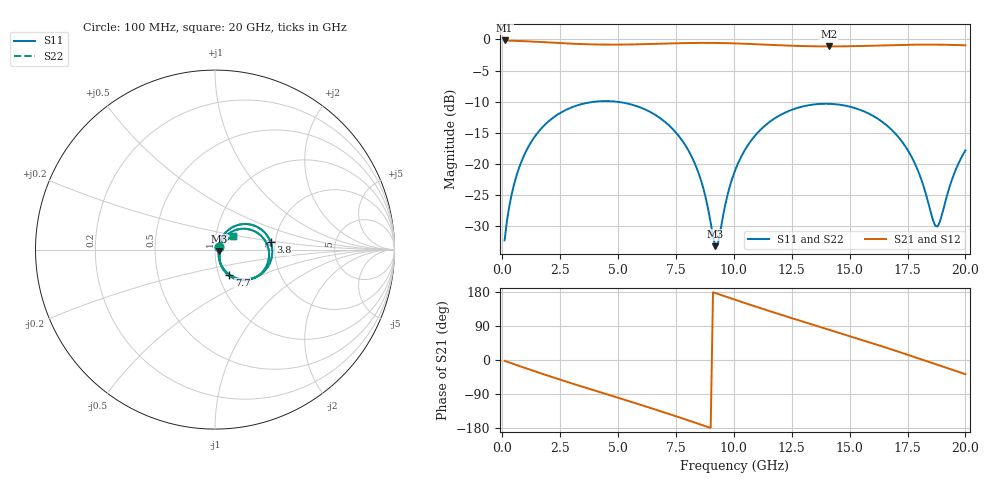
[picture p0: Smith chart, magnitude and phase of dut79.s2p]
! Touchstone file exported from HFSS 2026.1.0
!  File:  C:/ffzhzh/LocalFiles/Ansys_Project_Files/temp_train_TSV_RDL_79_1782971182_15332.aedt
!  Generated:  02:02:39 PM Jul  2, 2026
!  Design:  TSV_RDL
!  Project:  temp_train_TSV_RDL_79_1782971182_15332
! Variables:
!  h_bsmrdl = 5.42um
!  h_ox = 20um
!  h_rdl = 5um
!  h_sub = 85.78um
!  h_tmrdl = 5.96um
!  h_tsv = 85.78um
!  h_via = 3um
!  l_bsmrdl = 988.29um
!  l_sub = 6843.01um
!  l_tmrdl = 827.88um
!  m_sub = 200um
!  pitch = 41.68um
!  r_tsv = 4.52um
!  s_tmrdl = 10um
!  w_bsmrdl = 26.29um
!  w_sub = 500um
!  w_tmrdl = 29.25um
!  x_tsv_center1 = 842.505um
!  x_tsv_center2 = 1857.085um
!  x_tsv_center3 = 2714.215um
!  x_tsv_center4 = 3728.795um
!  x_tsv_center5 = 4585.925um
!  x_tsv_center6 = 5600.505um
# GHz S MA R 50.000000
! Terminal data exported
! Port[1] = TM_RDL1_1_T1
! Port[2] = TM_RDL5_1_T1
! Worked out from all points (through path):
!   200 points, 100 MHz to 20 GHz, reference 50 ohm
!   highest |S21| = -0.17 dB at 100 MHz (marker M1); lowest = -1.1 dB at 14.1 GHz (marker M2)
!   group delay of S21, straight-line fit = 54.8 ps
!   lowest |S11| = -33.2 dB at 9.2 GHz (marker M3), VSWR 1.04, Z = 52.1 - j0.73 ohm
!   |S11| at or under -10 dB: start of sweep to 4.02 GHz; 4.911 GHz to end of sweep
!   |S22| runs from -33.2 to -9.9 dB; largest |S21 - S12| = 1.6e-14
!   S11 on the Smith chart (normalised r, x): 100 MHz: 1.04, +0.03; 3.8 GHz: 1.89, +0.18; 7.7 GHz: 1.12, -0.32; 20 GHz: 1.21, +0.19
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0.1  0.02428 35.7  0.9807 -2.3  0.9807 -2.3  0.02428 35.7
! Gamma 0 0 0 0
! Port Impedance 50 0 50 0
0.5  0.0675 59.0  0.9746 -10.9  0.9746 -10.9  0.0675 59.0
1.2  0.1448 54.0  0.9633 -25.6  0.9633 -25.6  0.1448 54.0
2.2  0.2353 36.8  0.9408 -46.0  0.9408 -46.0  0.2353 36.8
3.5  0.3044 13.2  0.9162 -71.2  0.9162 -71.2  0.3044 13.2
3.8  0.3123 7.8  0.9127 -76.9  0.9127 -76.9  0.3123 7.8
5.3  0.3083 -18.8  0.9093 -105.3  0.9093 -105.3  0.3083 -18.8
6.8  0.2343 -45.3  0.9234 -134.4  0.9234 -134.4  0.2342 -45.3
7.7  0.1602 -60.2  0.933 -152.5  0.933 -152.5  0.1602 -60.2
8.6  0.07185 -68.2  0.9377 -171.0  0.9377 -171.0  0.07183 -68.3
9.2  0.02181 -18.7  0.9366 176.6  0.9366 176.6  0.02176 -18.7
9.3  0.02236 7.5  0.936 174.5  0.936 174.5  0.02232 7.6
9.7  0.05364 49.1  0.9328 166.2  0.9328 166.2  0.05364 49.2
10.1  0.09299 51.5  0.9282 158.0  0.9282 158.0  0.093 51.5
11.4  0.2069 34.0  0.9071 131.9  0.9071 131.9  0.207 34.0
13.4  0.2991 -0.3  0.8807 93.5  0.8807 93.5  0.2992 -0.3
14.1  0.3038 -12.3  0.8783 80.3  0.8783 80.3  0.3038 -12.3
15.4  0.2739 -34.6  0.8844 55.6  0.8844 55.6  0.2739 -34.6
16.7  0.1967 -55.9  0.8981 30.1  0.8981 30.1  0.1967 -55.9
17.8  0.1023 -68.4  0.9072 7.8  0.9072 7.8  0.1023 -68.4
18.7  0.03173 -24.9  0.908 -10.7  0.908 -10.7  0.0316 -25.0
20  0.1282 36.9  0.8966 -37.3  0.8966 -37.3  0.1282 37.0
